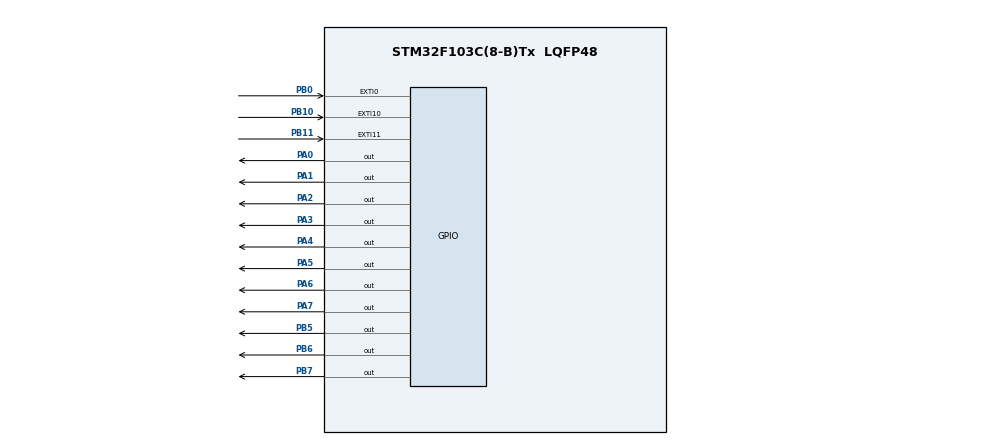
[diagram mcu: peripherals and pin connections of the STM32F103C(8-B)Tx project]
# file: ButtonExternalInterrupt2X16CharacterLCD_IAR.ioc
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Mcu.Family=STM32F1
Mcu.Name=STM32F103C(8-B)Tx
Mcu.Package=LQFP48
NVIC.EXTI0_IRQn=true\:1\:0\:true\:false\:true\:true\:true\:true
NVIC.EXTI15_10_IRQn=true\:2\:0\:true\:false\:true\:true\:true\:true
NVIC.PriorityGroup=NVIC_PRIORITYGROUP_4
PA0-WKUP.Signal=GPIO_Output
PA1.Signal=GPIO_Output
PA13.Mode=Serial_Wire
PA13.Signal=SYS_JTMS-SWDIO
PA14.Mode=Serial_Wire
PA14.Signal=SYS_JTCK-SWCLK
PA2.Signal=GPIO_Output
PA3.Signal=GPIO_Output
PA4.Signal=GPIO_Output
PA5.Signal=GPIO_Output
PA6.Signal=GPIO_Output
PA7.Signal=GPIO_Output
PB0.GPIO_PuPd=GPIO_PULLUP
PB0.Signal=GPXTI0
PB10.GPIO_PuPd=GPIO_PULLUP
PB10.Signal=GPXTI10
PB11.GPIO_PuPd=GPIO_PULLUP
PB11.Signal=GPXTI11
PB5.Signal=GPIO_Output
PB6.Signal=GPIO_Output
PB7.Signal=GPIO_Output
PD0-OSC_IN.Mode=HSE-External-Oscillator
PD0-OSC_IN.Signal=RCC_OSC_IN
PD1-OSC_OUT.Mode=HSE-External-Oscillator
PD1-OSC_OUT.Signal=RCC_OSC_OUT
ProjectManager.HeapSize=0x200
ProjectManager.StackSize=0x400
ProjectManager.TargetToolchain=EWARM V8.32
RCC.APB1Freq_Value=8000000
RCC.APB2Freq_Value=8000000
RCC.SYSCLKSource=RCC_SYSCLKSOURCE_HSE
board=custom

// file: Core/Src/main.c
/* USER CODE BEGIN Header */
/**
  ******************************************************************************
  * @file           : main.c
  * @brief          : Main program body
  ******************************************************************************
  * @attention
  *
  * Copyright (c) 2023 STMicroelectronics.
  * All rights reserved.
  *
  * This software is licensed under terms that can be found in the LICENSE file
  * in the root directory of this software component.
  * If no LICENSE file comes with this software, it is provided AS-IS.
  *
  ******************************************************************************
  */
/* USER CODE END Header */
#include "main.h"

/* USER CODE BEGIN Includes */

#include "LCD/lcd.h"
#include <stdio.h>

/* USER CODE END Includes */

void SystemClock_Config(void);
static void MX_GPIO_Init(void);

/* USER CODE BEGIN 0 */

int i0, i10, i11;

/* USER CODE END 0 */

int main(void)
{
  /* USER CODE BEGIN 1 */

  char str[17];

  /* USER CODE END 1 */

  /* MCU Configuration--------------------------------------------------------*/

  /* Reset of all peripherals, Initializes the Flash interface and the Systick. */
  HAL_Init();

  /* Configure the system clock */
  SystemClock_Config();

  /* Initialize all configured peripherals */
  MX_GPIO_Init();
  /* USER CODE BEGIN 2 */

  lcd_init();
  lcd_clear();

  lcd_gotoxy(0,0);
  lcd_puts("  dibadigital  ");
  HAL_Delay(2000);
  lcd_clear();

  /* USER CODE END 2 */

  /* Infinite loop */
  /* USER CODE BEGIN WHILE */
  while (1)
  {
    sprintf(str, "I0:%02d", i0);
    lcd_gotoxy(0,0);
    lcd_puts(str);

    sprintf(str, "I10:%02d, I11:%02d", i10, i11);
    lcd_gotoxy(0,1);
    lcd_puts(str);

    /* USER CODE END WHILE */

  }
}

void SystemClock_Config(void)
{
  RCC_OscInitTypeDef RCC_OscInitStruct = {0};
  RCC_ClkInitTypeDef RCC_ClkInitStruct = {0};

  /** Initializes the RCC Oscillators according to the specified parameters
  * in the RCC_OscInitTypeDef structure.
  */
  RCC_OscInitStruct.OscillatorType = RCC_OSCILLATORTYPE_HSE;
  RCC_OscInitStruct.HSEState = RCC_HSE_ON;
  RCC_OscInitStruct.PLL.PLLState = RCC_PLL_NONE;
  if (HAL_RCC_OscConfig(&RCC_OscInitStruct) != HAL_OK)
  {
    Error_Handler();
  }

  /** Initializes the CPU, AHB and APB buses clocks
  */
  RCC_ClkInitStruct.ClockType = RCC_CLOCKTYPE_HCLK|RCC_CLOCKTYPE_SYSCLK
                              |RCC_CLOCKTYPE_PCLK1|RCC_CLOCKTYPE_PCLK2;
  RCC_ClkInitStruct.SYSCLKSource = RCC_SYSCLKSOURCE_HSE;
  RCC_ClkInitStruct.AHBCLKDivider = RCC_SYSCLK_DIV1;
  RCC_ClkInitStruct.APB1CLKDivider = RCC_HCLK_DIV1;
  RCC_ClkInitStruct.APB2CLKDivider = RCC_HCLK_DIV1;

  if (HAL_RCC_ClockConfig(&RCC_ClkInitStruct, FLASH_LATENCY_0) != HAL_OK)
  {
    Error_Handler();
  }
}

static void MX_GPIO_Init(void)
{
  GPIO_InitTypeDef GPIO_InitStruct = {0};

  /* GPIO Ports Clock Enable */
  __HAL_RCC_GPIOD_CLK_ENABLE();
  __HAL_RCC_GPIOA_CLK_ENABLE();
  __HAL_RCC_GPIOB_CLK_ENABLE();

  /*Configure GPIO pin Output Level */
  HAL_GPIO_WritePin(GPIOA, GPIO_PIN_0|GPIO_PIN_1|GPIO_PIN_2|GPIO_PIN_3
                          |GPIO_PIN_4|GPIO_PIN_5|GPIO_PIN_6|GPIO_PIN_7, GPIO_PIN_RESET);

  /*Configure GPIO pin Output Level */
  HAL_GPIO_WritePin(GPIOB, GPIO_PIN_5|GPIO_PIN_6|GPIO_PIN_7, GPIO_PIN_RESET);

  /*Configure GPIO pins : PA0 PA1 PA2 PA3
                           PA4 PA5 PA6 PA7 */
  GPIO_InitStruct.Pin = GPIO_PIN_0|GPIO_PIN_1|GPIO_PIN_2|GPIO_PIN_3
                          |GPIO_PIN_4|GPIO_PIN_5|GPIO_PIN_6|GPIO_PIN_7;
  GPIO_InitStruct.Mode = GPIO_MODE_OUTPUT_PP;
  GPIO_InitStruct.Pull = GPIO_NOPULL;
  GPIO_InitStruct.Speed = GPIO_SPEED_FREQ_LOW;
  HAL_GPIO_Init(GPIOA, &GPIO_InitStruct);

  /*Configure GPIO pins : PB0 PB10 PB11 */
  GPIO_InitStruct.Pin = GPIO_PIN_0|GPIO_PIN_10|GPIO_PIN_11;
  GPIO_InitStruct.Mode = GPIO_MODE_IT_RISING;
  GPIO_InitStruct.Pull = GPIO_PULLUP;
  HAL_GPIO_Init(GPIOB, &GPIO_InitStruct);

  /*Configure GPIO pins : PB5 PB6 PB7 */
  GPIO_InitStruct.Pin = GPIO_PIN_5|GPIO_PIN_6|GPIO_PIN_7;
  GPIO_InitStruct.Mode = GPIO_MODE_OUTPUT_PP;
  GPIO_InitStruct.Pull = GPIO_NOPULL;
  GPIO_InitStruct.Speed = GPIO_SPEED_FREQ_LOW;
  HAL_GPIO_Init(GPIOB, &GPIO_InitStruct);

  /* EXTI interrupt init*/
  HAL_NVIC_SetPriority(EXTI0_IRQn, 1, 0);
  HAL_NVIC_EnableIRQ(EXTI0_IRQn);

  HAL_NVIC_SetPriority(EXTI15_10_IRQn, 2, 0);
  HAL_NVIC_EnableIRQ(EXTI15_10_IRQn);

}

void Error_Handler(void)
{
  __disable_irq();
  while (1)
  {
  }
}
